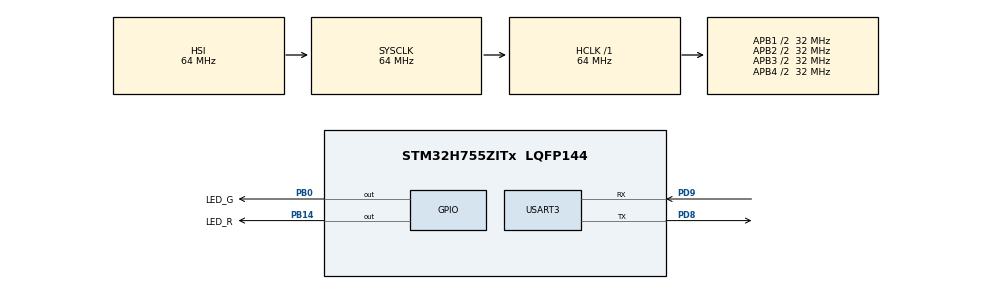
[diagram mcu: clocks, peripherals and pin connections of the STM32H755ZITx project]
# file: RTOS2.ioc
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CORTEX_M7.default_mode_Activation=1
CortexM4.IPs=BDMA,CORTEX_M4\:I,DMA,FATFS_M4\:I,FREERTOS_M4\:I,GPIO,IWDG2\:I,MDMA,NVIC2\:I,OPENAMP_M4\:I,PDM2PCM_M4\:I,PWR,RCC,RESMGR_UTILITY,SYS_M4\:I,USB_DEVICE_M4\:I,USB_HOST_M4\:I,VREFBUF,WWDG2\:I
CortexM7.IPs=BDMA\:I,CORTEX_M7\:I,DMA\:I,FATFS_M7\:I,FREERTOS_M7\:I,GPIO\:I,IWDG1\:I,MDMA\:I,NVIC1\:I,OPENAMP_M7\:I,PDM2PCM_M7\:I,PWR\:I,RCC\:I,RESMGR_UTILITY\:I,SYS\:I,USB_DEVICE_M7\:I,USB_HOST_M7\:I,VREFBUF\:I,WWDG1\:I,TIM6\:I,USART3\:I
CortexM7.Pins=PB0,PB14
FREERTOS_M7.INCLUDE_vTaskDelayUntil=1
FREERTOS_M7.Tasks01=defaultTask,0,128,StartDefaultTask,Default,NULL,Dynamic,NULL,NULL
FREERTOS_M7.configUSE_NEWLIB_REENTRANT=1
Mcu.Family=STM32H7
Mcu.Name=STM32H755ZITx
Mcu.Package=LQFP144
NVIC1.PriorityGroup=NVIC_PRIORITYGROUP_4
NVIC1.TIM6_DAC_IRQn=true\:15\:0\:false\:false\:true\:false\:false\:true\:true
NVIC1.TimeBase=TIM6_DAC_IRQn
NVIC1.TimeBaseIP=TIM6
NVIC2.PriorityGroup=NVIC_PRIORITYGROUP_4
PB0.GPIO_Label=LED_G
PB0.PinAttribute=CortexM7
PB0.PinState=GPIO_PIN_SET
PB0.Signal=GPIO_Output
PB14.GPIO_Label=LED_R
PB14.PinAttribute=CortexM7
PB14.PinState=GPIO_PIN_SET
PB14.Signal=GPIO_Output
PD8.Mode=Asynchronous
PD8.PinAttribute=CortexM7
PD8.Signal=USART3_TX
PD9.Mode=Asynchronous
PD9.PinAttribute=CortexM7
PD9.Signal=USART3_RX
PH0-OSC_IN\ (PH0).Mode=HSE-External-Oscillator
PH0-OSC_IN\ (PH0).PinAttribute=Free
PH0-OSC_IN\ (PH0).Signal=RCC_OSC_IN
PH1-OSC_OUT\ (PH1).Mode=HSE-External-Oscillator
PH1-OSC_OUT\ (PH1).PinAttribute=Free
PH1-OSC_OUT\ (PH1).Signal=RCC_OSC_OUT
ProjectManager.HeapSize=M4-0x200,M7-0x200
ProjectManager.StackSize=M4-0x400,M7-0x400
ProjectManager.TargetToolchain=STM32CubeIDE
RCC.ADCFreq_Value=50390625
RCC.APB1Freq_Value=32000000
RCC.APB2Freq_Value=32000000
RCC.APB3Freq_Value=32000000
RCC.APB4Freq_Value=32000000
RCC.CortexFreq_Value=64000000
RCC.D1PPRE=RCC_APB3_DIV2
RCC.D2PPRE1=RCC_APB1_DIV2
RCC.D2PPRE2=RCC_APB2_DIV2
RCC.D3PPRE=RCC_APB4_DIV2
RCC.DIVM1=4
RCC.DIVN1=30
RCC.HCLKFreq_Value=64000000
RCC.PLL2FRACN=0
RCC.PLL3FRACN=0
RCC.PLLFRACN=0
RCC.PLLSourceVirtual=RCC_PLLSOURCE_HSE
RCC.SYSCLKFreq_VALUE=64000000
RCC.USBFreq_Value=93750000
SYS.userName=SYS_M7
USART3.VirtualMode-Asynchronous=VM_ASYNC
VP_FREERTOS_M7_VS_CMSIS_V1.Mode=CMSIS_V1
VP_SYS_M4_VS_Systick.Mode=SysTick
VP_SYS_VS_tim6.Mode=TIM6
board=custom

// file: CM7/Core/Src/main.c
/* USER CODE BEGIN Header */
/**
  ******************************************************************************
  * @file           : main.c
  * @brief          : Main program body
  ******************************************************************************
  * @attention
  *
  * Copyright (c) 2024 STMicroelectronics.
  * All rights reserved.
  *
  * This software is licensed under terms that can be found in the LICENSE file
  * in the root directory of this software component.
  * If no LICENSE file comes with this software, it is provided AS-IS.
  *
  ******************************************************************************
  */
/* USER CODE END Header */
#include "main.h"
#include "cmsis_os.h"

/* USER CODE BEGIN Includes */
#include "stdio.h"
/* USER CODE END Includes */

/* USER CODE BEGIN PD */

#ifndef HSEM_ID_0
#define HSEM_ID_0 (0U) /* HW semaphore 0*/
#endif

/* USER CODE END PD */

UART_HandleTypeDef huart3;

osThreadId defaultTaskHandle;
/* USER CODE BEGIN PV */
osThreadId TaskHandle_LED;

/* USER CODE END PV */

void SystemClock_Config(void);
static void MPU_Config(void);
static void MX_GPIO_Init(void);
static void MX_USART3_UART_Init(void);
void StartDefaultTask(void const * argument);

/* USER CODE BEGIN PFP */
#define PUTCHAR_PROTOTYPE int __io_putchar(int ch)
void StartTask_LED(void const * argument);

/* USER CODE END PFP */

int main(void)
{

/* USER CODE BEGIN Boot_Mode_Sequence_0 */
  int32_t timeout;
/* USER CODE END Boot_Mode_Sequence_0 */

  /* MPU Configuration--------------------------------------------------------*/
  MPU_Config();

/* USER CODE BEGIN Boot_Mode_Sequence_1 */
  /* Wait until CPU2 boots and enters in stop mode or timeout*/
  timeout = 0xFFFF;
  while((__HAL_RCC_GET_FLAG(RCC_FLAG_D2CKRDY) != RESET) && (timeout-- > 0));
  if ( timeout < 0 )
  {
  Error_Handler();
  }
/* USER CODE END Boot_Mode_Sequence_1 */
  /* MCU Configuration--------------------------------------------------------*/

  /* Reset of all peripherals, Initializes the Flash interface and the Systick. */
  HAL_Init();

  /* Configure the system clock */
  SystemClock_Config();
/* USER CODE BEGIN Boot_Mode_Sequence_2 */
/* When system initialization is finished, Cortex-M7 will release Cortex-M4 by means of
HSEM notification */
/*HW semaphore Clock enable*/
__HAL_RCC_HSEM_CLK_ENABLE();
/*Take HSEM */
HAL_HSEM_FastTake(HSEM_ID_0);
/*Release HSEM in order to notify the CPU2(CM4)*/
HAL_HSEM_Release(HSEM_ID_0,0);
/* wait until CPU2 wakes up from stop mode */
timeout = 0xFFFF;
while((__HAL_RCC_GET_FLAG(RCC_FLAG_D2CKRDY) == RESET) && (timeout-- > 0));
if ( timeout < 0 )
{
Error_Handler();
}
/* USER CODE END Boot_Mode_Sequence_2 */

  /* Initialize all configured peripherals */
  MX_GPIO_Init();
  MX_USART3_UART_Init();
  /* USER CODE BEGIN 2 */

  printf("\n\nstart...\r\n");
  printf("start...\r\n");

  /* USER CODE END 2 */

  /* Create the thread(s) */
  /* definition and creation of defaultTask */
  osThreadDef(defaultTask, StartDefaultTask, osPriorityNormal, 0, 128);
  defaultTaskHandle = osThreadCreate(osThread(defaultTask), NULL);

  /* USER CODE BEGIN RTOS_THREADS */
  /* add threads, ... */
  /* definition and creation of Task_LED */
//  osThreadDef(Task_LED, StartTask_LED, osPriorityNormal, 0, 128);
  osThreadDef(Task_LED, StartTask_LED, osPriorityLow, 0, 128);
  TaskHandle_LED = osThreadCreate(osThread(Task_LED), NULL);
  /* USER CODE END RTOS_THREADS */

  /* Start scheduler */
  osKernelStart();

  /* We should never get here as control is now taken by the scheduler */

  /* Infinite loop */
  while (1)
  {

    /* USER CODE BEGIN 3 */
	  printf("No RTOS!!\r\n");
  }
  /* USER CODE END 3 */
}

void SystemClock_Config(void)
{
  RCC_OscInitTypeDef RCC_OscInitStruct = {0};
  RCC_ClkInitTypeDef RCC_ClkInitStruct = {0};

  /** Supply configuration update enable
  */
  HAL_PWREx_ConfigSupply(PWR_DIRECT_SMPS_SUPPLY);

  /** Configure the main internal regulator output voltage
  */
  __HAL_PWR_VOLTAGESCALING_CONFIG(PWR_REGULATOR_VOLTAGE_SCALE3);

  while(!__HAL_PWR_GET_FLAG(PWR_FLAG_VOSRDY)) {}

  /** Initializes the RCC Oscillators according to the specified parameters
  * in the RCC_OscInitTypeDef structure.
  */
  RCC_OscInitStruct.OscillatorType = RCC_OSCILLATORTYPE_HSI;
  RCC_OscInitStruct.HSIState = RCC_HSI_DIV1;
  RCC_OscInitStruct.HSICalibrationValue = RCC_HSICALIBRATION_DEFAULT;
  RCC_OscInitStruct.PLL.PLLState = RCC_PLL_NONE;
  if (HAL_RCC_OscConfig(&RCC_OscInitStruct) != HAL_OK)
  {
    Error_Handler();
  }

  /** Initializes the CPU, AHB and APB buses clocks
  */
  RCC_ClkInitStruct.ClockType = RCC_CLOCKTYPE_HCLK|RCC_CLOCKTYPE_SYSCLK
                              |RCC_CLOCKTYPE_PCLK1|RCC_CLOCKTYPE_PCLK2
                              |RCC_CLOCKTYPE_D3PCLK1|RCC_CLOCKTYPE_D1PCLK1;
  RCC_ClkInitStruct.SYSCLKSource = RCC_SYSCLKSOURCE_HSI;
  RCC_ClkInitStruct.SYSCLKDivider = RCC_SYSCLK_DIV1;
  RCC_ClkInitStruct.AHBCLKDivider = RCC_HCLK_DIV1;
  RCC_ClkInitStruct.APB3CLKDivider = RCC_APB3_DIV2;
  RCC_ClkInitStruct.APB1CLKDivider = RCC_APB1_DIV2;
  RCC_ClkInitStruct.APB2CLKDivider = RCC_APB2_DIV2;
  RCC_ClkInitStruct.APB4CLKDivider = RCC_APB4_DIV2;

  if (HAL_RCC_ClockConfig(&RCC_ClkInitStruct, FLASH_LATENCY_1) != HAL_OK)
  {
    Error_Handler();
  }
}

static void MX_USART3_UART_Init(void)
{

  huart3.Instance = USART3;
  huart3.Init.BaudRate = 115200;
  huart3.Init.WordLength = UART_WORDLENGTH_8B;
  huart3.Init.StopBits = UART_STOPBITS_1;
  huart3.Init.Parity = UART_PARITY_NONE;
  huart3.Init.Mode = UART_MODE_TX_RX;
  huart3.Init.HwFlowCtl = UART_HWCONTROL_NONE;
  huart3.Init.OverSampling = UART_OVERSAMPLING_16;
  huart3.Init.OneBitSampling = UART_ONE_BIT_SAMPLE_DISABLE;
  huart3.Init.ClockPrescaler = UART_PRESCALER_DIV1;
  huart3.AdvancedInit.AdvFeatureInit = UART_ADVFEATURE_NO_INIT;
  if (HAL_UART_Init(&huart3) != HAL_OK)
  {
    Error_Handler();
  }
  if (HAL_UARTEx_SetTxFifoThreshold(&huart3, UART_TXFIFO_THRESHOLD_1_8) != HAL_OK)
  {
    Error_Handler();
  }
  if (HAL_UARTEx_SetRxFifoThreshold(&huart3, UART_RXFIFO_THRESHOLD_1_8) != HAL_OK)
  {
    Error_Handler();
  }
  if (HAL_UARTEx_DisableFifoMode(&huart3) != HAL_OK)
  {
    Error_Handler();
  }

}

static void MX_GPIO_Init(void)
{
  GPIO_InitTypeDef GPIO_InitStruct = {0};

  /* GPIO Ports Clock Enable */
  __HAL_RCC_GPIOB_CLK_ENABLE();
  __HAL_RCC_GPIOD_CLK_ENABLE();

  /*Configure GPIO pin Output Level */
  HAL_GPIO_WritePin(GPIOB, LED_G_Pin|LED_R_Pin, GPIO_PIN_SET);

  /*Configure GPIO pins : LED_G_Pin LED_R_Pin */
  GPIO_InitStruct.Pin = LED_G_Pin|LED_R_Pin;
  GPIO_InitStruct.Mode = GPIO_MODE_OUTPUT_PP;
  GPIO_InitStruct.Pull = GPIO_NOPULL;
  GPIO_InitStruct.Speed = GPIO_SPEED_FREQ_LOW;
  HAL_GPIO_Init(GPIOB, &GPIO_InitStruct);

}

/* USER CODE BEGIN 4 */
/**
  * @brief  Retargets the C library printf function to the USART.
  *   None
  * @retval None
  */
PUTCHAR_PROTOTYPE
{
  /* Place your implementation of fputc here */
  /* e.g. write a character to the USART1 and Loop until the end of transmission */
  HAL_UART_Transmit(&huart3, (uint8_t *)&ch, 1, 0xFFFF);

  return ch;
}
/* USER CODE END 4 */

void StartDefaultTask(void const * argument)
{
  /* USER CODE BEGIN 5 */
	static uint32_t cnt = 0;
  /* Infinite loop */
  for(;;)
  {
	printf("DefaultTask %u\r\n", cnt++);
    osDelay(1000);
  }
}

/**
  * @brief  Function implementing the Task_LED thread.
  * @param  argument: Not used
  * @retval None
  */
/* USER CODE END Header_StartTask_LED */
void StartTask_LED(void const * argument)
{
  /* USER CODE BEGIN 5 */
	static uint32_t cnt = 100;
  /* Infinite loop */
  for(;;)
  {
	printf("Task_LED %u\r\n", cnt++);
	HAL_GPIO_TogglePin(GPIOB, LED_G_Pin|LED_R_Pin);
    osDelay(1000);
  }
}

  /* USER CODE END 5 */

 /* MPU Configuration */

void MPU_Config(void)
{
  MPU_Region_InitTypeDef MPU_InitStruct = {0};

  /* Disables the MPU */
  HAL_MPU_Disable();

  /** Initializes and configures the Region and the memory to be protected
  */
  MPU_InitStruct.Enable = MPU_REGION_ENABLE;
  MPU_InitStruct.Number = MPU_REGION_NUMBER0;
  MPU_InitStruct.BaseAddress = 0x0;
  MPU_InitStruct.Size = MPU_REGION_SIZE_4GB;
  MPU_InitStruct.SubRegionDisable = 0x87;
  MPU_InitStruct.TypeExtField = MPU_TEX_LEVEL0;
  MPU_InitStruct.AccessPermission = MPU_REGION_NO_ACCESS;
  MPU_InitStruct.DisableExec = MPU_INSTRUCTION_ACCESS_DISABLE;
  MPU_InitStruct.IsShareable = MPU_ACCESS_SHAREABLE;
  MPU_InitStruct.IsCacheable = MPU_ACCESS_NOT_CACHEABLE;
  MPU_InitStruct.IsBufferable = MPU_ACCESS_NOT_BUFFERABLE;

  HAL_MPU_ConfigRegion(&MPU_InitStruct);
  /* Enables the MPU */
  HAL_MPU_Enable(MPU_PRIVILEGED_DEFAULT);

}

void HAL_TIM_PeriodElapsedCallback(TIM_HandleTypeDef *htim)
{
  if (htim->Instance == TIM6) {
    HAL_IncTick();
  }
}

void Error_Handler(void)
{
  __disable_irq();
  while (1)
  {
  }
}
